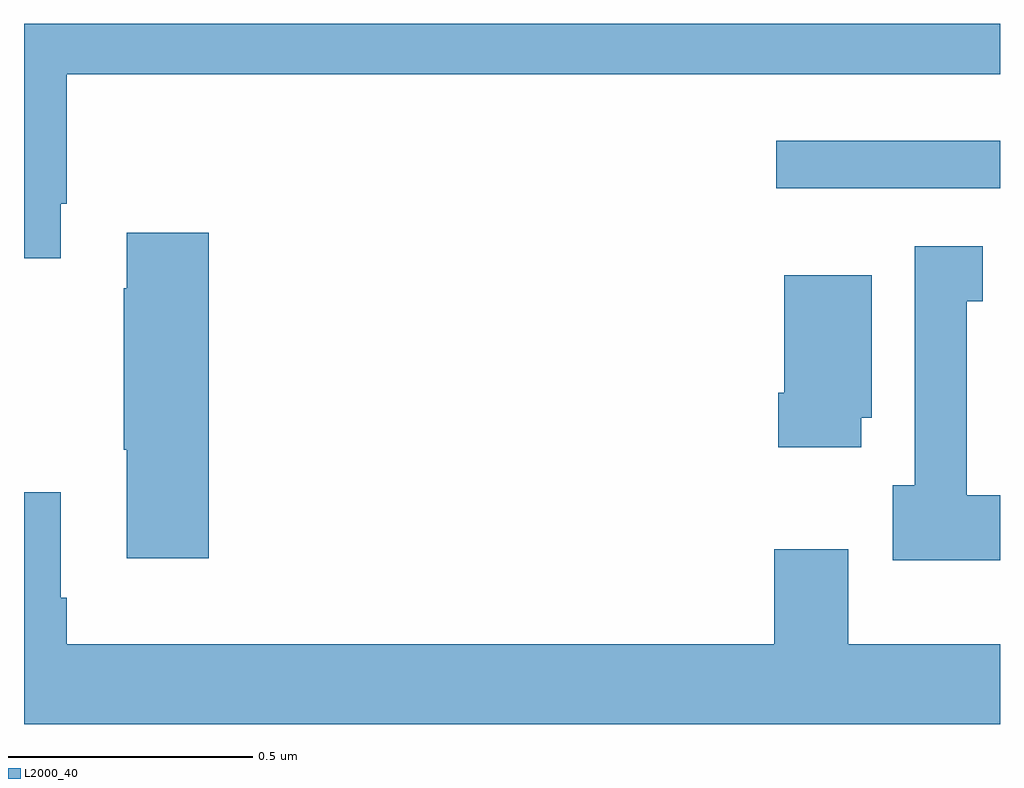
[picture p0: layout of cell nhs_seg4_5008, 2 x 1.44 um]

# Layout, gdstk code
import gdstk
lib = gdstk.Library(unit=1e-6, precision=1e-09)
def R(c, l, rs):  # rectangles x0, y0, x1, y1
    for r in rs: c.add(gdstk.rectangle(r[:2], r[2:], *l))
def P(c, l, *ps):  # polygons
    for p in ps: c.add(gdstk.Polygon(p, *l))
L2000_40 = (2000, 40)

nhs_seg4_5008 = lib.new_cell('nhs_seg4_5008')
R(nhs_seg4_5008, L2000_40, [(173.541,820.563,174,820.66)])
P(nhs_seg4_5008, L2000_40, [(172.075,820.531),(172.088,820.531),(172.088,820.796),(174,820.796),(174,820.9),(172,820.9),(172,820.419),(172.075,820.419)],
  [(172.379,820.471),(172.211,820.471),(172.211,820.358),(172.204,820.358),(172.204,820.027),(172.211,820.027),(172.211,819.804),(172.379,819.804)],
  [(174,819.934),(173.932,819.934),(173.932,820.331),(173.965,820.331),(173.965,820.444),(173.825,820.444),(173.825,819.954),(173.78,819.954),(173.78,819.8),(174,819.8)],
  [(173.716,820.092),(173.737,820.092),(173.737,820.384),(173.558,820.384),(173.558,820.144),(173.546,820.144),(173.546,820.032),(173.716,820.032)],
  [(174,819.628),(173.689,819.628),(173.689,819.823),(173.537,819.823),(173.537,819.628),(172.088,819.628),(172.088,819.724),(172.075,819.724),(172.075,819.94),(172,819.94),(172,819.464),(174,819.464)])

lib.write_gds('nhs_seg4_5008.gds')
